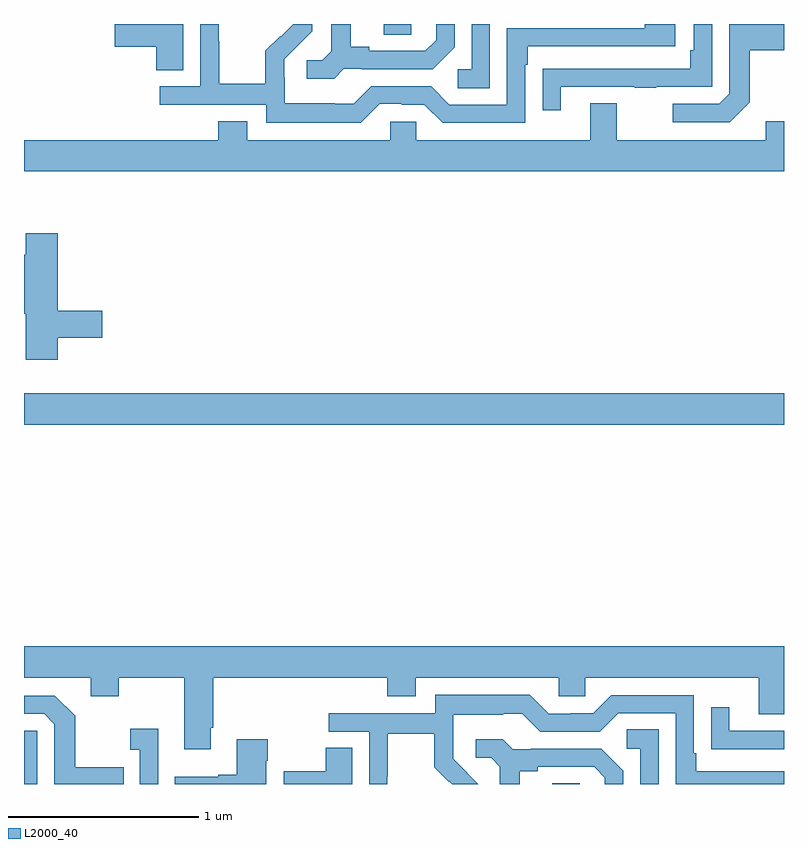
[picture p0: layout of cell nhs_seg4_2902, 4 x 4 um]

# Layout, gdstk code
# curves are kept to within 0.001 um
import gdstk
lib = gdstk.Library(unit=1e-6, precision=1e-09)
def R(c, l, rs):  # rectangles x0, y0, x1, y1
    for r in rs: c.add(gdstk.rectangle(r[:2], r[2:], *l))
def P(c, l, *ps):  # polygons
    for p in ps: c.add(gdstk.Polygon(p, *l))
L2000_40 = (2000, 40)

nhs_seg4_2902 = lib.new_cell('nhs_seg4_2902')
R(nhs_seg4_2902, L2000_40, [(263,822.9,263.07,823.179), (265.781,822.9,265.926,822.905), (263,824.792,267,824.956), (264.893,826.843,265.038,826.9)])
P(nhs_seg4_2902, L2000_40, [(265.452,826.9),(265.356,826.9),(265.356,826.662),(265.284,826.662),(265.284,826.561),(265.452,826.561)],
  [(264.684,826.665),(264.778,826.665),(264.778,826.662),(265.15,826.662),(265.266,826.778),(265.266,826.9),(265.169,826.9),(265.169,826.815),(265.112,826.758),(264.817,826.758),(264.817,826.781),(264.721,826.781),(264.721,826.9),(264.617,826.9),(264.617,826.757),(264.57,826.71),(264.489,826.71),(264.489,826.613),(264.632,826.613)],
  [(265.825,826.569),(266.215,826.569),(266.215,826.564),(266.327,826.564),(266.327,826.569),(266.622,826.569),(266.622,826.9),(266.526,826.9),(266.526,826.762),(266.506,826.762),(266.506,826.665),(265.831,826.665),(265.831,826.664),(265.729,826.664),(265.729,826.446),(265.825,826.446)],
  [(263.839,826.9),(263.478,826.9),(263.478,826.781),(263.696,826.781),(263.696,826.657),(263.839,826.657)],
  [(266.821,826.489),(266.821,826.762),(267,826.762),(267,826.9),(266.712,826.9),(266.712,826.533),(266.658,826.479),(266.415,826.479),(266.415,826.383),(266.715,826.383)],
  [(264.873,826.479),(264.989,826.479),(264.989,826.476),(265.107,826.476),(265.203,826.38),(265.638,826.38),(265.638,826.685),(265.651,826.685),(265.651,826.782),(266.428,826.782),(266.428,826.9),(266.267,826.9),(266.267,826.878),(265.542,826.878),(265.542,826.476),(265.239,826.476),(265.143,826.572),(264.828,826.572),(264.735,826.479),(264.635,826.479),(264.635,826.483),(264.372,826.483),(264.372,826.617),(264.37,826.617),(264.37,826.714),(264.516,826.862),(264.516,826.9),(264.418,826.9),(264.351,826.833),(264.348,826.836),(264.271,826.759),(264.271,826.585),(264.027,826.585),(264.027,826.808),(264.024,826.808),(264.024,826.9),(263.928,826.9),(263.928,826.572),(263.715,826.572),(263.715,826.476),(264.276,826.476),(264.276,826.379),(264.773,826.379)],
  [(267,826.387),(266.903,826.387),(266.903,826.288),(266.119,826.288),(266.119,826.483),(265.979,826.483),(265.979,826.288),(265.065,826.288),(265.065,826.386),(264.927,826.386),(264.927,826.288),(264.175,826.288),(264.175,826.387),(264.023,826.387),(264.023,826.288),(263,826.288),(263,826.124),(267,826.124)],
  [(263.177,825.25),(263.413,825.25),(263.413,825.392),(263.177,825.392),(263.177,825.799),(263.009,825.799),(263.009,825.686),(263.002,825.686),(263.002,825.375),(263.009,825.375),(263.009,825.132),(263.177,825.132)],
  [(263.983,823.195),(263.996,823.195),(263.996,823.46),(264.911,823.46),(264.911,823.361),(265.063,823.361),(265.063,823.46),(265.815,823.46),(265.815,823.362),(265.953,823.362),(265.953,823.46),(266.867,823.46),(266.867,823.266),(267,823.266),(267,823.624),(263,823.624),(263,823.46),(263.351,823.46),(263.351,823.361),(263.499,823.361),(263.499,823.46),(263.843,823.46),(263.843,823.083),(263.983,823.083)],
  [(264.912,822.94),(264.915,822.94),(264.915,823.164),(265.159,823.164),(265.159,822.989),(265.236,822.912),(265.239,822.915),(265.254,822.9),(265.39,822.9),(265.258,823.034),(265.258,823.131),(265.26,823.131),(265.26,823.265),(265.523,823.265),(265.523,823.269),(265.623,823.269),(265.716,823.176),(266.031,823.176),(266.127,823.272),(266.43,823.272),(266.43,822.9),(267,822.9),(267,822.966),(266.539,822.966),(266.539,823.063),(266.526,823.063),(266.526,823.368),(266.091,823.368),(265.995,823.272),(265.877,823.272),(265.877,823.269),(265.761,823.269),(265.661,823.369),(265.164,823.369),(265.164,823.272),(264.603,823.272),(264.603,823.176),(264.816,823.176),(264.816,822.9),(264.912,822.9)],
  [(263.525,822.987),(263.269,822.987),(263.269,823.259),(263.163,823.365),(263,823.365),(263,823.269),(263.106,823.269),(263.16,823.215),(263.16,822.9),(263.525,822.9)],
  [(267,823.179),(266.713,823.179),(266.713,823.303),(266.617,823.303),(266.617,823.084),(266.719,823.084),(266.719,823.083),(267,823.083)],
  [(263.706,823.192),(263.559,823.192),(263.559,823.079),(263.61,823.079),(263.61,822.9),(263.706,822.9)],
  [(266.34,823.187),(266.172,823.187),(266.172,823.086),(266.244,823.086),(266.244,822.9),(266.34,822.9)],
  [(265.609,822.968),(265.705,822.968),(265.705,822.99),(266,822.99),(266.057,822.933),(266.057,822.9),(266.154,822.9),(266.154,822.97),(266.038,823.086),(265.666,823.086),(265.666,823.083),(265.572,823.083),(265.52,823.135),(265.377,823.135),(265.377,823.038),(265.458,823.038),(265.505,822.991),(265.505,822.9),(265.609,822.9)],
  [(264.274,823.022),(264.282,823.022),(264.282,823.135),(264.119,823.135),(264.119,822.95),(264.023,822.95),(264.023,822.937),(263.793,822.937),(263.793,822.9),(264.274,822.9)],
  [(264.727,823.091),(264.589,823.091),(264.589,822.968),(264.366,822.968),(264.366,822.9),(264.727,822.9)])

lib.write_gds('nhs_seg4_2902.gds')
